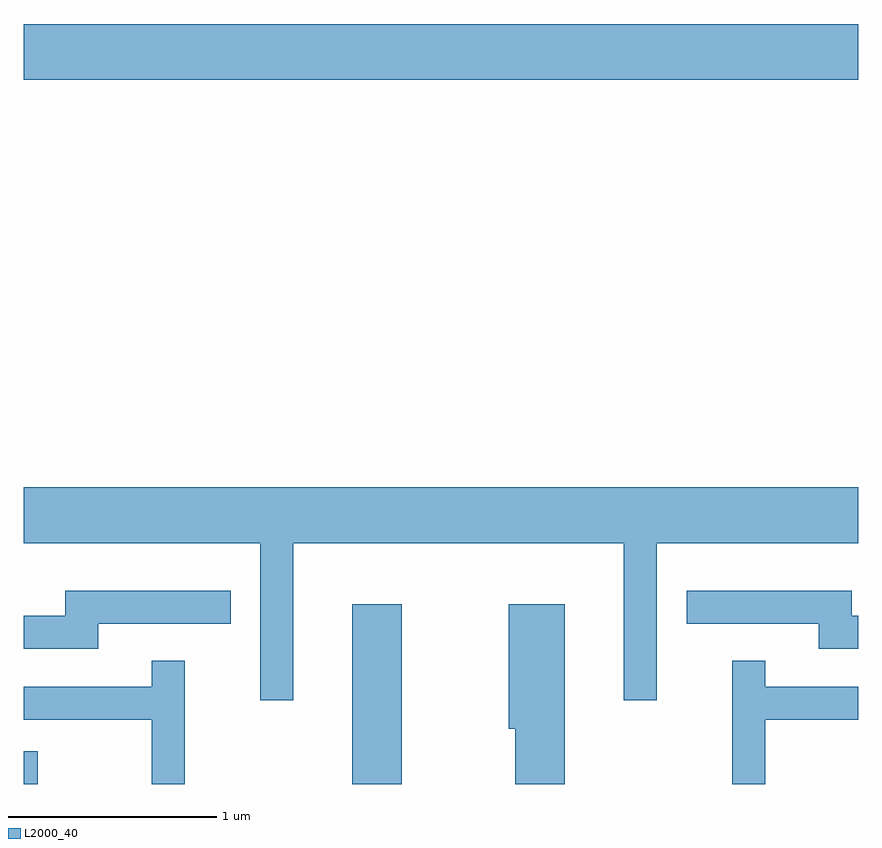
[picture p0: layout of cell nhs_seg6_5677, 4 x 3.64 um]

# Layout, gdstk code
import gdstk
lib = gdstk.Library(unit=1e-6, precision=1e-09)
def R(c, l, rs):  # rectangles x0, y0, x1, y1
    for r in rs: c.add(gdstk.rectangle(r[:2], r[2:], *l))
def P(c, l, *ps):  # polygons
    for p in ps: c.add(gdstk.Polygon(p, *l))
L2000_40 = (2000, 40)

nhs_seg6_5677 = lib.new_cell('nhs_seg6_5677')
R(nhs_seg6_5677, L2000_40, [(357.611,1602.162,357.678,1602.319), (359.186,1602.162,359.424,1603.024), (357.611,1605.536,361.611,1605.804)])
P(nhs_seg6_5677, L2000_40, [(358.904,1603.316),(360.486,1603.316),(360.486,1602.563),(360.644,1602.563),(360.644,1603.316),(361.611,1603.316),(361.611,1603.584),(357.611,1603.584),(357.611,1603.316),(358.746,1603.316),(358.746,1602.563),(358.904,1602.563)],
  [(361.611,1602.969),(361.579,1602.969),(361.579,1603.089),(360.788,1603.089),(360.788,1602.931),(361.421,1602.931),(361.421,1602.811),(361.611,1602.811)],
  [(357.969,1602.931),(358.603,1602.931),(358.603,1603.089),(357.811,1603.089),(357.811,1602.969),(357.611,1602.969),(357.611,1602.811),(357.969,1602.811)],
  [(360.204,1603.024),(359.936,1603.024),(359.936,1602.426),(359.966,1602.426),(359.966,1602.162),(360.204,1602.162)],
  [(358.384,1602.753),(358.226,1602.753),(358.226,1602.629),(357.611,1602.629),(357.611,1602.471),(358.226,1602.471),(358.226,1602.162),(358.384,1602.162)],
  [(361.164,1602.471),(361.611,1602.471),(361.611,1602.629),(361.164,1602.629),(361.164,1602.753),(361.006,1602.753),(361.006,1602.162),(361.164,1602.162)])

lib.write_gds('nhs_seg6_5677.gds')
